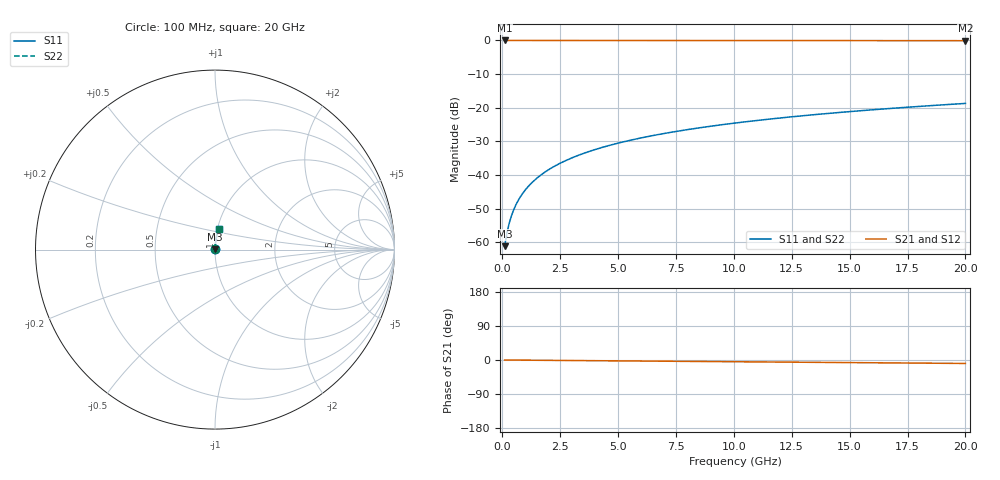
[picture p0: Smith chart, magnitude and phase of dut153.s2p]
! Touchstone file exported from HFSS 2026.1.0
!  File:  C:/ffzhzh/LocalFiles/Ansys_Project_Files/temp_train_TSV_153_1782990656_45328.aedt
!  Generated:  07:13:02 PM Jul  2, 2026
!  Design:  TSV
!  Project:  temp_train_TSV_153_1782990656_45328
! Variables:
!  h_bsmrdl = 2um
!  h_ox = 20um
!  h_rdl = 5um
!  h_sub = 51.12um
!  h_tmrdl = 5um
!  h_tsv = 51.12um
!  h_via = 3um
!  l_bsmrdl = 300um
!  l_sub = 406.3um
!  l_tmrdl = 200um
!  m_sub = 200um
!  pitch = 59.42um
!  r_tsv = 3.15um
!  s_tmrdl = 10um
!  w_bsmrdl = 18um
!  w_sub = 500um
!  w_tmrdl = 12um
!  x_tsv_center1 = 206um
!  x_tsv_center2 = 524um
!  x_tsv_center3 = 736um
!  x_tsv_center4 = 1054um
!  x_tsv_center5 = 1266um
!  x_tsv_center6 = 1584um
# GHz S MA R 50.000000
! Terminal data exported
! Port[1] = TSV1_1_T1
! Port[2] = TSV1_1_T2
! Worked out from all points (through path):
!   200 points, 100 MHz to 20 GHz, reference 50 ohm
!   highest |S21| = -0.01 dB at 100 MHz (marker M1); lowest = -0.1 dB at 20 GHz (marker M2)
!   group delay of S21, straight-line fit = 1.26 ps
!   lowest |S11| = -61.2 dB at 100 MHz (marker M3), VSWR 1.00, Z = 50.1 + j0.0607 ohm
!   |S11| at or under -10 dB: start of sweep to end of sweep
!   |S22| runs from -61.2 to -18.7 dB; largest |S21 - S12| = 3.1e-15
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0.1  0.000871 44.1  0.9994 -0.0  0.9994 -0.0  0.000871 44.1
! Gamma 0 0 0 0
! Port Impedance 50 0 50 0
0.2  0.001365 62.4  0.9994 -0.1  0.9994 -0.1  0.001365 62.4
0.3  0.00192 70.4  0.9994 -0.1  0.9994 -0.1  0.00192 70.4
0.4  0.002494 74.8  0.9994 -0.2  0.9994 -0.2  0.002494 74.8
0.5  0.003074 77.5  0.9993 -0.2  0.9993 -0.2  0.003074 77.5
0.6  0.003659 79.4  0.9993 -0.3  0.9993 -0.3  0.003659 79.4
0.8  0.004836 81.7  0.9993 -0.4  0.9993 -0.4  0.004836 81.7
1.1  0.006609 83.6  0.9993 -0.5  0.9993 -0.5  0.006609 83.6
1.5  0.008981 84.9  0.9993 -0.7  0.9993 -0.7  0.008981 84.9
1.8  0.01076 85.4  0.9992 -0.8  0.9992 -0.8  0.01076 85.4
2.1  0.01254 85.7  0.9992 -1.0  0.9992 -1.0  0.01254 85.7
2.7  0.0161 86.0  0.9991 -1.3  0.9991 -1.3  0.0161 86.0
3.5  0.02084 86.1  0.999 -1.6  0.999 -1.6  0.02084 86.1
4.2  0.02497 86.0  0.9988 -1.9  0.9988 -1.9  0.02497 86.0
5  0.02968 85.8  0.9986 -2.3  0.9986 -2.3  0.02968 85.8
5.9  0.03495 85.5  0.9983 -2.7  0.9983 -2.7  0.03495 85.5
6.8  0.04021 85.2  0.998 -3.1  0.998 -3.1  0.04021 85.2
8.3  0.04893 84.6  0.9975 -3.8  0.9975 -3.8  0.04893 84.6
10.1  0.05934 83.9  0.9968 -4.6  0.9968 -4.6  0.05934 83.9
13.4  0.07829 82.6  0.9952 -6.1  0.9952 -6.1  0.07829 82.6
16.7  0.09707 81.2  0.9933 -7.6  0.9933 -7.6  0.09707 81.2
20  0.1157 79.8  0.9912 -9.1  0.9912 -9.1  0.1157 79.8
